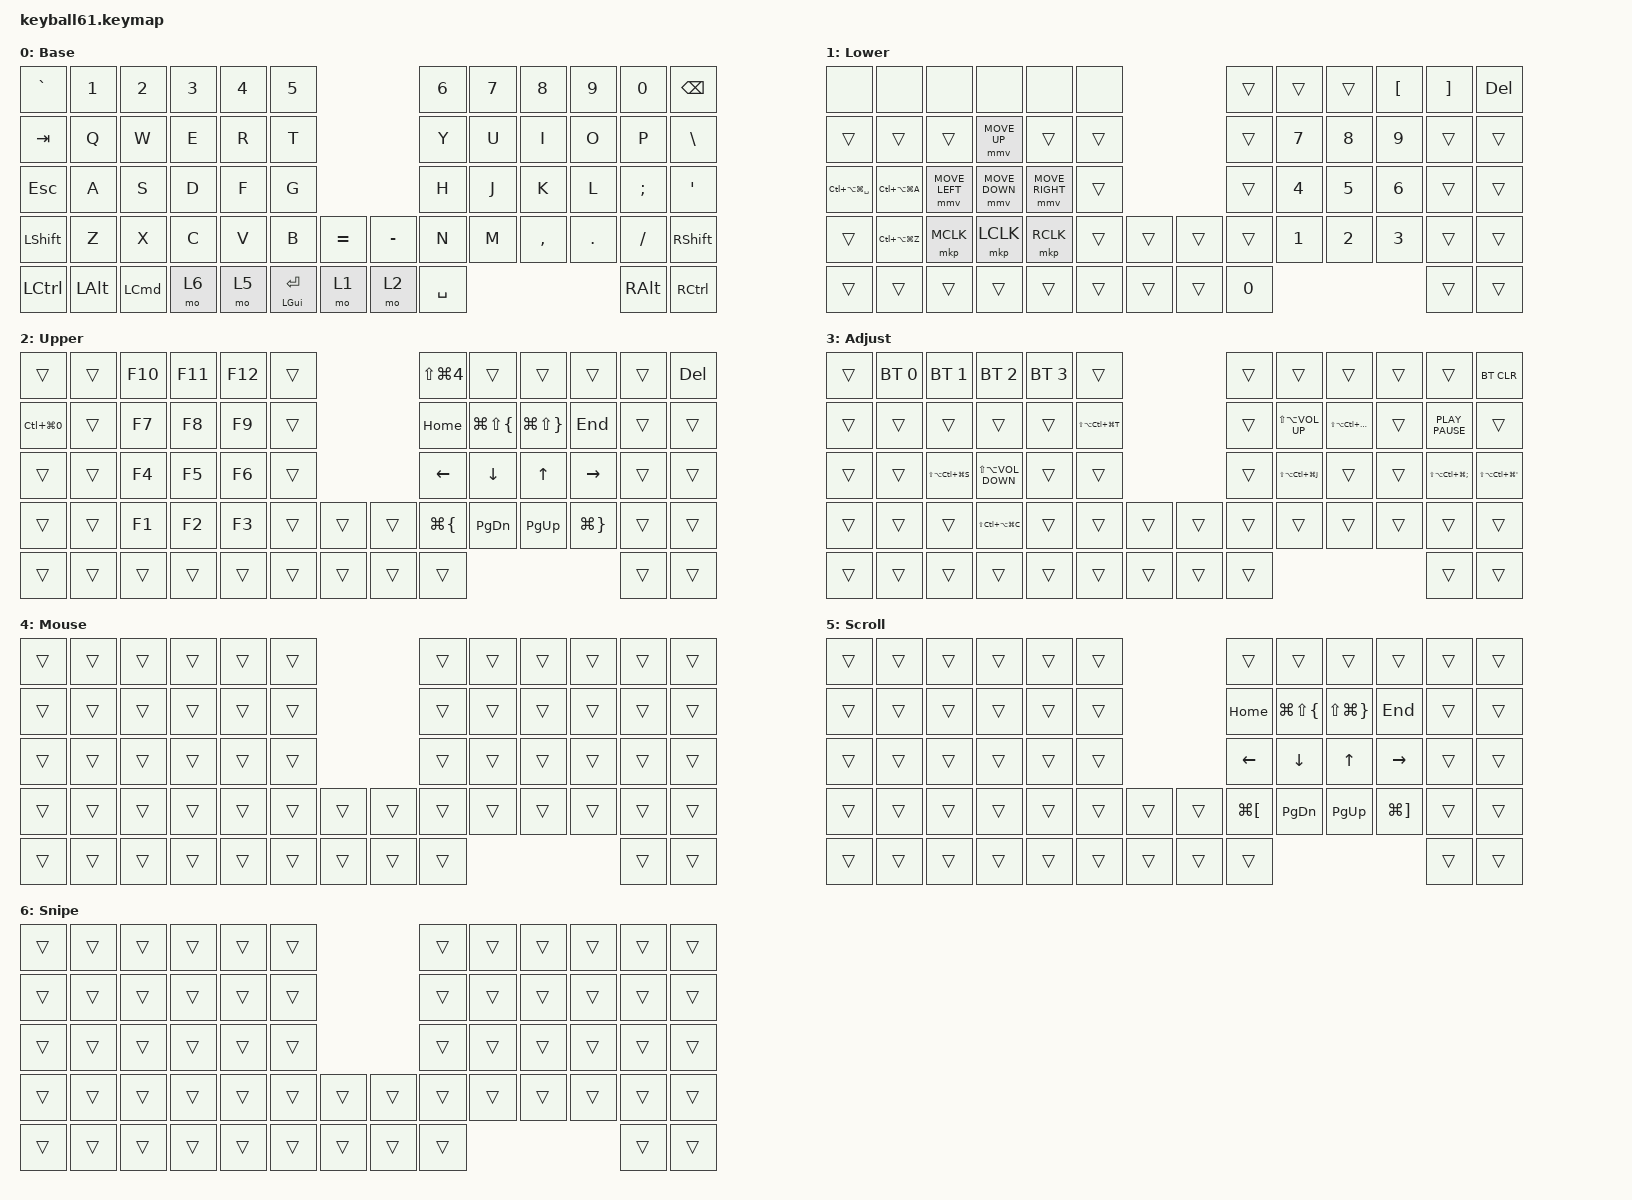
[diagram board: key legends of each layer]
#define DEFAULT 0
#define SYM     1
#define FUN     2
#define MOUSE   3
#define SCROLL  4
#define SNIPE   5

#include <behaviors/mouse_keys.dtsi>
#include <dt-bindings/zmk/mouse.h>
#include <behaviors.dtsi>
#include <dt-bindings/zmk/bt.h>
#include <dt-bindings/zmk/keys.h>
#include <dt-bindings/zmk/pointing.h>

&lt {
    tapping-term-ms = <240>;
    flavor = "balanced";
    quick-tap-ms = <150>;
};

&mt {
    tapping-term-ms = <200>;
    flavor = "hold-preferred";
    quick-tap-ms = <150>;
};

/ {
    combos {
        compatible = "zmk,combos";

        mb1 {
            bindings = <&mkp MB1>;
            key-positions = <45 46>;
        };

        dragscroll {
            bindings = <&mo 5>;
            key-positions = <46 47>;
        };

        mb2 {
            bindings = <&mkp RCLK>;
            key-positions = <47 48>;
        };
    };

    keymap {
        compatible = "zmk,keymap";

        base_layer {
            label = "Base";
            bindings = <
&kp GRAVE         &kp N1        &kp N2            &kp N3             &kp N4  &kp N5                                                 &kp N6     &kp N7  &kp N8     &kp N9   &kp N0         &kp BSPC
&kp TAB           &kp Q         &kp W             &kp E              &kp R   &kp T                                                  &kp Y      &kp U   &kp I      &kp O    &kp P          &kp BACKSLASH
&kp ESC           &kp A         &kp S             &kp D              &kp F   &kp G                                                  &kp H      &kp J   &kp K      &kp L    &kp SEMI       &kp SQT
&kp LEFT_SHIFT    &kp Z         &kp X             &kp C              &kp V   &kp B             &kp EQUAL         &kp MINUS          &kp N      &kp M   &kp COMMA  &kp DOT  &kp FSLH       &kp RIGHT_SHIFT
&kp LEFT_CONTROL  &kp LEFT_ALT  &kp LEFT_COMMAND  &mo 6              &mo 5   &mt LEFT_GUI RET  &mo 1             &mo 2              &kp SPACE                              &kp RIGHT_ALT  &kp RIGHT_CONTROL
            >;
        };

        lower_layer {
            bindings = <
&none                  &none              &none           &none           &none            &none                   &trans  &trans        &trans        &kp LEFT_BRACKET  &kp RIGHT_BRACKET  &kp DELETE
&trans                 &trans             &trans          &mmv MOVE_UP    &trans           &trans                  &trans  &kp N7        &kp N8        &kp N9            &trans             &trans
&kp LC(LA(LG(SPACE)))  &kp LC(LA(LG(A)))  &mmv MOVE_LEFT  &mmv MOVE_DOWN  &mmv MOVE_RIGHT  &trans                  &trans  &kp NUMBER_4  &kp N5        &kp NUMBER_6      &trans             &trans
&trans                 &kp LC(LA(LG(Z)))  &mkp MCLK       &mkp LCLK       &mkp RCLK        &trans  &trans  &trans  &trans  &kp NUMBER_1  &kp NUMBER_2  &kp NUMBER_3      &trans             &trans
&trans                 &trans             &trans          &trans          &trans           &trans  &trans  &trans  &kp N0                                                &trans             &trans
            >;

            label = "Lower";
        };

        upper_layer {
            label = "Upper";
            bindings = <
&trans          &trans  &kp F10  &kp F11  &kp F12  &trans                  &kp LS(LG(NUMBER_4))  &trans                  &trans                   &trans               &trans  &kp DELETE
&kp LC(LG(N0))  &trans  &kp F7   &kp F8   &kp F9   &trans                  &kp HOME              &kp LG(LS(LEFT_BRACE))  &kp LG(LS(RIGHT_BRACE))  &kp END              &trans  &trans
&trans          &trans  &kp F4   &kp F5   &kp F6   &trans                  &kp LEFT_ARROW        &kp DOWN_ARROW          &kp UP_ARROW             &kp RIGHT_ARROW      &trans  &trans
&trans          &trans  &kp F1   &kp F2   &kp F3   &trans  &trans  &trans  &kp LG(LEFT_BRACE)    &kp PAGE_DOWN           &kp PAGE_UP              &kp LG(RIGHT_BRACE)  &trans  &trans
&trans          &trans  &trans   &trans   &trans   &trans  &trans  &trans  &trans                                                                                      &trans  &trans
            >;
        };

        adjust_layer {
            label = "Adjust";
            bindings = <
&trans  &bt BT_SEL 0  &bt BT_SEL 1           &bt BT_SEL 2               &bt BT_SEL 3  &trans                                 &trans  &trans                   &trans                      &trans  &trans                         &bt BT_CLR
&trans  &trans        &trans                 &trans                     &trans        &kp LS(LA(LC(LG(T))))                  &trans  &kp LS(LA(K_VOLUME_UP))  &kp LS(LA(LC(LG(INSERT))))  &trans  &kp K_PLAY_PAUSE               &trans
&trans  &trans        &kp LS(LA(LC(LG(S))))  &kp LS(LA(K_VOLUME_DOWN))  &trans        &trans                                 &trans  &kp LS(LA(LC(LG(J))))    &trans                      &trans  &kp LS(LA(LC(LG(SEMICOLON))))  &kp LS(LA(LC(LG(SINGLE_QUOTE))))
&trans  &trans        &trans                 &kp LS(LC(LA(LG(C))))      &trans        &trans                 &trans  &trans  &trans  &trans                   &trans                      &trans  &trans                         &trans
&trans  &trans        &trans                 &trans                     &trans        &trans                 &trans  &trans  &trans                                                               &trans                         &trans
            >;
        };

        mouse_layer {
            label = "Mouse";
            bindings = <
&trans  &trans  &trans  &trans  &trans  &trans                  &trans  &trans  &trans  &trans  &trans  &trans
&trans  &trans  &trans  &trans  &trans  &trans                  &trans  &trans  &trans  &trans  &trans  &trans
&trans  &trans  &trans  &trans  &trans  &trans                  &trans  &trans  &trans  &trans  &trans  &trans
&trans  &trans  &trans  &trans  &trans  &trans  &trans  &trans  &trans  &trans  &trans  &trans  &trans  &trans
&trans  &trans  &trans  &trans  &trans  &trans  &trans  &trans  &trans                          &trans  &trans
            >;
        };

        scroll_layer {
            label = "Scroll";
            bindings = <
&trans  &trans  &trans  &trans  &trans  &trans                  &trans                &trans                  &trans                   &trans                 &trans  &trans
&trans  &trans  &trans  &trans  &trans  &trans                  &kp HOME              &kp LG(LS(LEFT_BRACE))  &kp LS(LG(RIGHT_BRACE))  &kp END                &trans  &trans
&trans  &trans  &trans  &trans  &trans  &trans                  &kp LEFT_ARROW        &kp DOWN_ARROW          &kp UP_ARROW             &kp RIGHT_ARROW        &trans  &trans
&trans  &trans  &trans  &trans  &trans  &trans  &trans  &trans  &kp LG(LEFT_BRACKET)  &kp PAGE_DOWN           &kp PAGE_UP              &kp LG(RIGHT_BRACKET)  &trans  &trans
&trans  &trans  &trans  &trans  &trans  &trans  &trans  &trans  &trans                                                                                        &trans  &trans
            >;
        };

        snipe_layer {
            label = "Snipe";
            bindings = <
&trans  &trans  &trans  &trans  &trans  &trans                  &trans  &trans  &trans  &trans  &trans  &trans
&trans  &trans  &trans  &trans  &trans  &trans                  &trans  &trans  &trans  &trans  &trans  &trans
&trans  &trans  &trans  &trans  &trans  &trans                  &trans  &trans  &trans  &trans  &trans  &trans
&trans  &trans  &trans  &trans  &trans  &trans  &trans  &trans  &trans  &trans  &trans  &trans  &trans  &trans
&trans  &trans  &trans  &trans  &trans  &trans  &trans  &trans  &trans                          &trans  &trans
            >;
        };
    };

    conditional_layers {
        compatible = "zmk,conditional-layers";

        Tri_lowerupperadjust {
            if-layers = <1 2>;
            then-layer = <3>;
        };
    };
};
